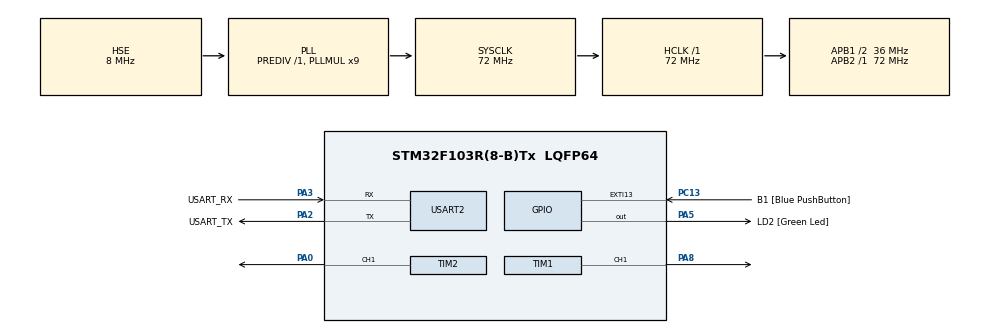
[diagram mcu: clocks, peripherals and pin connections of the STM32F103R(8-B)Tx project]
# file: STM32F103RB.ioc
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Mcu.Family=STM32F1
Mcu.Name=STM32F103R(8-B)Tx
Mcu.Package=LQFP64
NVIC.EXTI15_10_IRQn=true\:0\:0\:false\:false\:true\:true
NVIC.PriorityGroup=NVIC_PRIORITYGROUP_4
PA0-WKUP.Signal=S_TIM2_CH1_ETR
PA13.GPIO_Label=TMS
PA13.Mode=Serial_Wire
PA13.Signal=SYS_JTMS-SWDIO
PA14.GPIO_Label=TCK
PA14.Mode=Serial_Wire
PA14.Signal=SYS_JTCK-SWCLK
PA2.GPIO_Label=USART_TX
PA2.GPIO_Mode=GPIO_MODE_AF_PP
PA2.GPIO_PuPd=GPIO_NOPULL
PA2.GPIO_Speed=GPIO_SPEED_FREQ_LOW
PA2.Mode=Asynchronous
PA2.Signal=USART2_TX
PA3.GPIO_Label=USART_RX
PA3.GPIO_Mode=GPIO_MODE_AF_PP
PA3.GPIO_PuPd=GPIO_NOPULL
PA3.GPIO_Speed=GPIO_SPEED_FREQ_LOW
PA3.Mode=Asynchronous
PA3.Signal=USART2_RX
PA5.GPIO_Label=LD2 [Green Led]
PA5.GPIO_ModeDefaultOutputPP=GPIO_MODE_OUTPUT_PP
PA5.GPIO_PuPd=GPIO_NOPULL
PA5.GPIO_Speed=GPIO_SPEED_FREQ_LOW
PA5.Signal=GPIO_Output
PA8.Signal=S_TIM1_CH1
PC13-TAMPER-RTC.GPIO_Label=B1 [Blue PushButton]
PC13-TAMPER-RTC.GPIO_PuPd=GPIO_NOPULL
PC13-TAMPER-RTC.Signal=GPXTI13
PC14-OSC32_IN.Mode=LSE-External-Oscillator
PC14-OSC32_IN.Signal=RCC_OSC32_IN
PC15-OSC32_OUT.Mode=LSE-External-Oscillator
PC15-OSC32_OUT.Signal=RCC_OSC32_OUT
PD0-OSC_IN.Mode=HSE-External-Clock-Source
PD0-OSC_IN.Signal=RCC_OSC_IN
PD1-OSC_OUT.Mode=HSE-External-Clock-Source
PD1-OSC_OUT.Signal=RCC_OSC_OUT
ProjectManager.HeapSize=0x200
ProjectManager.StackSize=0x400
ProjectManager.TargetToolchain=MDK-ARM V5
RCC.AHBFreq_Value=72000000
RCC.APB1CLKDivider=RCC_HCLK_DIV2
RCC.APB1Freq_Value=36000000
RCC.APB1TimFreq_Value=72000000
RCC.APB2Freq_Value=72000000
RCC.APB2TimFreq_Value=72000000
RCC.HCLKFreq_Value=72000000
RCC.PLLMUL=RCC_PLL_MUL9
RCC.PLLSourceVirtual=RCC_PLLSOURCE_HSE
RCC.RTCClockSelection=RCC_RTCCLKSOURCE_LSE
RCC.SYSCLKFreq_VALUE=72000000
RCC.SYSCLKSource=RCC_SYSCLKSOURCE_PLLCLK
RCC.USBFreq_Value=72000000
SH.S_TIM1_CH1.0=TIM1_CH1,PWM Generation1 CH1
SH.S_TIM2_CH1_ETR.0=TIM2_CH1,PWM Generation1 CH1
TIM1.Channel-PWM\ Generation1\ CH1=TIM_CHANNEL_1
TIM1.Period=282
TIM1.Prescaler=256
TIM2.Channel-PWM\ Generation1\ CH1=TIM_CHANNEL_1
TIM2.Period=282
TIM2.Prescaler=256
USART2.VirtualMode=VM_ASYNC
board=NUCLEO-F103RB

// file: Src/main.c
/**
  ******************************************************************************
  * @file           : main.c
  * @brief          : Main program body
  ******************************************************************************
  ** This notice applies to any and all portions of this file
  * that are not between comment pairs USER CODE BEGIN and
  * USER CODE END. Other portions of this file, whether
  * inserted by the user or by software development tools
  * are owned by their respective copyright owners.
  *
  * COPYRIGHT(c) 2018 STMicroelectronics
  *
  * Redistribution and use in source and binary forms, with or without modification,
  * are permitted provided that the following conditions are met:
  *   1. Redistributions of source code must retain the above copyright notice,
  *      this list of conditions and the following disclaimer.
  *   2. Redistributions in binary form must reproduce the above copyright notice,
  *      this list of conditions and the following disclaimer in the documentation
  *      and/or other materials provided with the distribution.
  *   3. Neither the name of STMicroelectronics nor the names of its contributors
  *      may be used to endorse or promote products derived from this software
  *      without specific prior written permission.
  *
  * THIS SOFTWARE IS PROVIDED BY THE COPYRIGHT HOLDERS AND CONTRIBUTORS "AS IS"
  * AND ANY EXPRESS OR IMPLIED WARRANTIES, INCLUDING, BUT NOT LIMITED TO, THE
  * IMPLIED WARRANTIES OF MERCHANTABILITY AND FITNESS FOR A PARTICULAR PURPOSE ARE
  * DISCLAIMED. IN NO EVENT SHALL THE COPYRIGHT HOLDER OR CONTRIBUTORS BE LIABLE
  * FOR ANY DIRECT, INDIRECT, INCIDENTAL, SPECIAL, EXEMPLARY, OR CONSEQUENTIAL
  * DAMAGES (INCLUDING, BUT NOT LIMITED TO, PROCUREMENT OF SUBSTITUTE GOODS OR
  * SERVICES; LOSS OF USE, DATA, OR PROFITS; OR BUSINESS INTERRUPTION) HOWEVER
  * CAUSED AND ON ANY THEORY OF LIABILITY, WHETHER IN CONTRACT, STRICT LIABILITY,
  * OR TORT (INCLUDING NEGLIGENCE OR OTHERWISE) ARISING IN ANY WAY OUT OF THE USE
  * OF THIS SOFTWARE, EVEN IF ADVISED OF THE POSSIBILITY OF SUCH DAMAGE.
  *
  ******************************************************************************
  */
#include "main.h"
#include "stm32f1xx_hal.h"

/* USER CODE BEGIN Includes */
#define GREEN_LED_PORT  GPIOA                //WRITTEN BY VINCENT
#define GREEN_LED_PIN   GPIO_PIN_5	         //WRITTEN BY VINCENT
#define BUTTON_PORT     GPIOC								 //WRITTEN BY VINCENT
#define BUTTON_PIN      GPIO_PIN_13					 //WRITTEN BY VINCENT
#include "stdbool.h"   //WRITTEN BY VINCENT => We want to use BOOLEAN TYPE

/* USER CODE END Includes */

TIM_HandleTypeDef htim1;
TIM_HandleTypeDef htim2;

UART_HandleTypeDef huart2;

/* USER CODE BEGIN PV */
/* Private variables ---------------------------------------------------------*/
bool PRESS = false;                          //WRITTEN BY VINCENT
uint8_t MESSAGE[1];                          //WRITTEN BY VINCENT , MESSAGE LENGTH LIMITED AS 1
uint8_t START[7] = "START\n\r"; 						 //WRITTEN BY VINCENT
/* USER CODE END PV */

void SystemClock_Config(void);
static void MX_GPIO_Init(void);
static void MX_USART2_UART_Init(void);
static void MX_TIM1_Init(void);
static void MX_TIM2_Init(void);
void HAL_TIM_MspPostInit(TIM_HandleTypeDef *htim);

/* USER CODE BEGIN PFP */
/* Private function prototypes -----------------------------------------------*/

/* USER CODE END PFP */

int main(void)
{

  /* MCU Configuration----------------------------------------------------------*/

  /* Reset of all peripherals, Initializes the Flash interface and the Systick. */
  HAL_Init();

  /* Configure the system clock */
  SystemClock_Config();

  /* Initialize all configured peripherals */
  MX_GPIO_Init();
  MX_USART2_UART_Init();
  MX_TIM1_Init();
  MX_TIM2_Init();
  /* USER CODE BEGIN 2 */

  //*******************WRITTEN BY VINCENT********************************//
  /*
	  If you have some default setup, it is good to write here since this part
		is not included in the while(1) loop and all peripherals are initialized.
	*/
	HAL_TIM_PWM_Start(&htim1,TIM_CHANNEL_1);  //START PWM PA8 - 41
	HAL_TIM_PWM_Start(&htim2,TIM_CHANNEL_1);  //START PWM PA0 - 14
	HAL_GPIO_WritePin(GREEN_LED_PORT,GREEN_LED_PIN,GPIO_PIN_RESET); //Default ON BOARD LED IS OFF
	HAL_UART_Transmit(&huart2, START ,sizeof(START),100);           //SEND SOME TEXT SO YOU KNOW YOUR PROGRAM IS STARTED
 //*******************WRITTEN BY VINCENT********************************//

  /* USER CODE END 2 */

  /* Infinite loop */
  /* USER CODE BEGIN WHILE */
  while (1)
  {

  //*******************WRITTEN BY VINCENT********************************//

  HAL_UART_Receive(&huart2,MESSAGE,sizeof(MESSAGE),500); //Receiving message from PC
	HAL_Delay(300); //Just slow it down
	HAL_UART_Transmit(&huart2,MESSAGE,sizeof(MESSAGE),500); //Send what you received back to PC

	if (MESSAGE[0] == 'A')
	{
		__HAL_TIM_SET_COMPARE(&htim2, TIM_CHANNEL_1,30);        //WHEN STM32 received 'A', LED is drived by PWM
		__HAL_TIM_SET_COMPARE(&htim1, TIM_CHANNEL_1,100);       //PIN41 LED will be BRIGHTER than PIN14 because it has larger duty cycle
	}

	/*Noted that __HAL_TIM_SET_COMPARE(&htim2, TIM_CHANNEL_1,60);
	 You have set the frequency in STMCUBMX by prescalar and counter period.
   In this program, I have set to be 1kHz. Meanwhile in __HAL_TIM_SET_COMPARE,
   you can change the duty cycle from 0% to 100% by filling in the number at last.
	*/

	//*******************WRITTEN BY VINCENT********************************//

  /* USER CODE END WHILE */

  }

}

void SystemClock_Config(void)
{

  RCC_OscInitTypeDef RCC_OscInitStruct;
  RCC_ClkInitTypeDef RCC_ClkInitStruct;

    /**Initializes the CPU, AHB and APB busses clocks
    */
  RCC_OscInitStruct.OscillatorType = RCC_OSCILLATORTYPE_HSE;
  RCC_OscInitStruct.HSEState = RCC_HSE_BYPASS;
  RCC_OscInitStruct.HSEPredivValue = RCC_HSE_PREDIV_DIV1;
  RCC_OscInitStruct.HSIState = RCC_HSI_ON;
  RCC_OscInitStruct.PLL.PLLState = RCC_PLL_ON;
  RCC_OscInitStruct.PLL.PLLSource = RCC_PLLSOURCE_HSE;
  RCC_OscInitStruct.PLL.PLLMUL = RCC_PLL_MUL9;
  if (HAL_RCC_OscConfig(&RCC_OscInitStruct) != HAL_OK)
  {
    _Error_Handler(__FILE__, __LINE__);
  }

    /**Initializes the CPU, AHB and APB busses clocks
    */
  RCC_ClkInitStruct.ClockType = RCC_CLOCKTYPE_HCLK|RCC_CLOCKTYPE_SYSCLK
                              |RCC_CLOCKTYPE_PCLK1|RCC_CLOCKTYPE_PCLK2;
  RCC_ClkInitStruct.SYSCLKSource = RCC_SYSCLKSOURCE_PLLCLK;
  RCC_ClkInitStruct.AHBCLKDivider = RCC_SYSCLK_DIV1;
  RCC_ClkInitStruct.APB1CLKDivider = RCC_HCLK_DIV2;
  RCC_ClkInitStruct.APB2CLKDivider = RCC_HCLK_DIV1;

  if (HAL_RCC_ClockConfig(&RCC_ClkInitStruct, FLASH_LATENCY_2) != HAL_OK)
  {
    _Error_Handler(__FILE__, __LINE__);
  }

    /**Configure the Systick interrupt time
    */
  HAL_SYSTICK_Config(HAL_RCC_GetHCLKFreq()/1000);

    /**Configure the Systick
    */
  HAL_SYSTICK_CLKSourceConfig(SYSTICK_CLKSOURCE_HCLK);

  /* SysTick_IRQn interrupt configuration */
  HAL_NVIC_SetPriority(SysTick_IRQn, 0, 0);
}

/* TIM1 init function */
static void MX_TIM1_Init(void)
{

  TIM_MasterConfigTypeDef sMasterConfig;
  TIM_OC_InitTypeDef sConfigOC;
  TIM_BreakDeadTimeConfigTypeDef sBreakDeadTimeConfig;

  htim1.Instance = TIM1;
  htim1.Init.Prescaler = 256;
  htim1.Init.CounterMode = TIM_COUNTERMODE_UP;
  htim1.Init.Period = 282;
  htim1.Init.ClockDivision = TIM_CLOCKDIVISION_DIV1;
  htim1.Init.RepetitionCounter = 0;
  htim1.Init.AutoReloadPreload = TIM_AUTORELOAD_PRELOAD_DISABLE;
  if (HAL_TIM_PWM_Init(&htim1) != HAL_OK)
  {
    _Error_Handler(__FILE__, __LINE__);
  }

  sMasterConfig.MasterOutputTrigger = TIM_TRGO_RESET;
  sMasterConfig.MasterSlaveMode = TIM_MASTERSLAVEMODE_DISABLE;
  if (HAL_TIMEx_MasterConfigSynchronization(&htim1, &sMasterConfig) != HAL_OK)
  {
    _Error_Handler(__FILE__, __LINE__);
  }

  sConfigOC.OCMode = TIM_OCMODE_PWM1;
  sConfigOC.Pulse = 0;
  sConfigOC.OCPolarity = TIM_OCPOLARITY_HIGH;
  sConfigOC.OCNPolarity = TIM_OCNPOLARITY_HIGH;
  sConfigOC.OCFastMode = TIM_OCFAST_DISABLE;
  sConfigOC.OCIdleState = TIM_OCIDLESTATE_RESET;
  sConfigOC.OCNIdleState = TIM_OCNIDLESTATE_RESET;
  if (HAL_TIM_PWM_ConfigChannel(&htim1, &sConfigOC, TIM_CHANNEL_1) != HAL_OK)
  {
    _Error_Handler(__FILE__, __LINE__);
  }

  sBreakDeadTimeConfig.OffStateRunMode = TIM_OSSR_DISABLE;
  sBreakDeadTimeConfig.OffStateIDLEMode = TIM_OSSI_DISABLE;
  sBreakDeadTimeConfig.LockLevel = TIM_LOCKLEVEL_OFF;
  sBreakDeadTimeConfig.DeadTime = 0;
  sBreakDeadTimeConfig.BreakState = TIM_BREAK_DISABLE;
  sBreakDeadTimeConfig.BreakPolarity = TIM_BREAKPOLARITY_HIGH;
  sBreakDeadTimeConfig.AutomaticOutput = TIM_AUTOMATICOUTPUT_DISABLE;
  if (HAL_TIMEx_ConfigBreakDeadTime(&htim1, &sBreakDeadTimeConfig) != HAL_OK)
  {
    _Error_Handler(__FILE__, __LINE__);
  }

  HAL_TIM_MspPostInit(&htim1);

}

/* TIM2 init function */
static void MX_TIM2_Init(void)
{

  TIM_MasterConfigTypeDef sMasterConfig;
  TIM_OC_InitTypeDef sConfigOC;

  htim2.Instance = TIM2;
  htim2.Init.Prescaler = 256;
  htim2.Init.CounterMode = TIM_COUNTERMODE_UP;
  htim2.Init.Period = 282;
  htim2.Init.ClockDivision = TIM_CLOCKDIVISION_DIV1;
  htim2.Init.AutoReloadPreload = TIM_AUTORELOAD_PRELOAD_DISABLE;
  if (HAL_TIM_PWM_Init(&htim2) != HAL_OK)
  {
    _Error_Handler(__FILE__, __LINE__);
  }

  sMasterConfig.MasterOutputTrigger = TIM_TRGO_RESET;
  sMasterConfig.MasterSlaveMode = TIM_MASTERSLAVEMODE_DISABLE;
  if (HAL_TIMEx_MasterConfigSynchronization(&htim2, &sMasterConfig) != HAL_OK)
  {
    _Error_Handler(__FILE__, __LINE__);
  }

  sConfigOC.OCMode = TIM_OCMODE_PWM1;
  sConfigOC.Pulse = 0;
  sConfigOC.OCPolarity = TIM_OCPOLARITY_HIGH;
  sConfigOC.OCFastMode = TIM_OCFAST_DISABLE;
  if (HAL_TIM_PWM_ConfigChannel(&htim2, &sConfigOC, TIM_CHANNEL_1) != HAL_OK)
  {
    _Error_Handler(__FILE__, __LINE__);
  }

  HAL_TIM_MspPostInit(&htim2);

}

/* USART2 init function */
static void MX_USART2_UART_Init(void)
{

  huart2.Instance = USART2;
  huart2.Init.BaudRate = 115200;
  huart2.Init.WordLength = UART_WORDLENGTH_8B;
  huart2.Init.StopBits = UART_STOPBITS_1;
  huart2.Init.Parity = UART_PARITY_NONE;
  huart2.Init.Mode = UART_MODE_TX_RX;
  huart2.Init.HwFlowCtl = UART_HWCONTROL_NONE;
  huart2.Init.OverSampling = UART_OVERSAMPLING_16;
  if (HAL_UART_Init(&huart2) != HAL_OK)
  {
    _Error_Handler(__FILE__, __LINE__);
  }

}

/** Configure pins as
        * Analog
        * Input
        * Output
        * EVENT_OUT
        * EXTI
*/
static void MX_GPIO_Init(void)
{

  GPIO_InitTypeDef GPIO_InitStruct;

  /* GPIO Ports Clock Enable */
  __HAL_RCC_GPIOC_CLK_ENABLE();
  __HAL_RCC_GPIOD_CLK_ENABLE();
  __HAL_RCC_GPIOA_CLK_ENABLE();

  /*Configure GPIO pin Output Level */
  HAL_GPIO_WritePin(LD2_GPIO_Port, LD2_Pin, GPIO_PIN_RESET);

  /*Configure GPIO pin : B1_Pin */
  GPIO_InitStruct.Pin = B1_Pin;
  GPIO_InitStruct.Mode = GPIO_MODE_IT_RISING;
  GPIO_InitStruct.Pull = GPIO_NOPULL;
  HAL_GPIO_Init(B1_GPIO_Port, &GPIO_InitStruct);

  /*Configure GPIO pin : LD2_Pin */
  GPIO_InitStruct.Pin = LD2_Pin;
  GPIO_InitStruct.Mode = GPIO_MODE_OUTPUT_PP;
  GPIO_InitStruct.Speed = GPIO_SPEED_FREQ_LOW;
  HAL_GPIO_Init(LD2_GPIO_Port, &GPIO_InitStruct);

  /* EXTI interrupt init*/
  HAL_NVIC_SetPriority(EXTI15_10_IRQn, 0, 0);
  HAL_NVIC_EnableIRQ(EXTI15_10_IRQn);

}

void _Error_Handler(char *file, int line)
{
  while(1)
  {
  }
}

/************************ (C) COPYRIGHT STMicroelectronics *****END OF FILE****/
